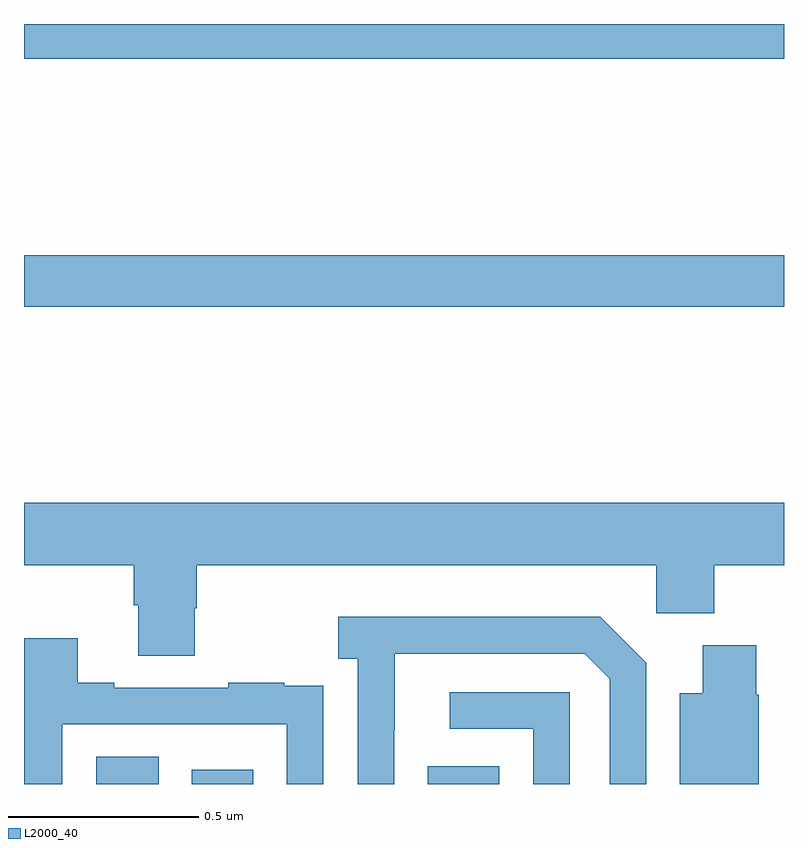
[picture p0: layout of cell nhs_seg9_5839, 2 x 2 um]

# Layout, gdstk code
import gdstk
lib = gdstk.Library(unit=1e-6, precision=1e-09)
def R(c, l, rs):  # rectangles x0, y0, x1, y1
    for r in rs: c.add(gdstk.rectangle(r[:2], r[2:], *l))
def P(c, l, *ps):  # polygons
    for p in ps: c.add(gdstk.Polygon(p, *l))
L2000_40 = (2000, 40)

nhs_seg9_5839 = lib.new_cell('nhs_seg9_5839')
R(nhs_seg9_5839, L2000_40, [(184.19,1206.5,184.354,1206.572), (184.442,1206.5,184.603,1206.538), (185.063,1206.5,185.251,1206.547), (184,1207.756,186,1207.892), (184,1208.408,186,1208.5)])
P(nhs_seg9_5839, L2000_40, [(184.449,1206.963),(184.454,1206.963),(184.454,1207.076),(185.664,1207.076),(185.664,1206.95),(185.816,1206.95),(185.816,1207.076),(186,1207.076),(186,1207.24),(184,1207.24),(184,1207.076),(184.289,1207.076),(184.289,1206.97),(184.301,1206.97),(184.301,1206.838),(184.449,1206.838)],
  [(184.974,1206.643),(184.975,1206.643),(184.975,1206.843),(185.475,1206.843),(185.541,1206.777),(185.541,1206.5),(185.637,1206.5),(185.637,1206.819),(185.516,1206.94),(184.827,1206.94),(184.827,1206.83),(184.878,1206.83),(184.878,1206.5),(184.974,1206.5)],
  [(184.101,1206.657),(184.692,1206.657),(184.692,1206.5),(184.788,1206.5),(184.788,1206.65),(184.787,1206.65),(184.787,1206.759),(184.685,1206.759),(184.685,1206.766),(184.537,1206.766),(184.537,1206.753),(184.237,1206.753),(184.237,1206.766),(184.141,1206.766),(184.141,1206.883),(184,1206.883),(184,1206.5),(184.101,1206.5)],
  [(185.933,1206.735),(185.927,1206.735),(185.927,1206.865),(185.786,1206.865),(185.786,1206.739),(185.726,1206.739),(185.726,1206.5),(185.933,1206.5)],
  [(185.436,1206.741),(185.121,1206.741),(185.121,1206.645),(185.34,1206.645),(185.34,1206.5),(185.436,1206.5)])

lib.write_gds('nhs_seg9_5839.gds')
